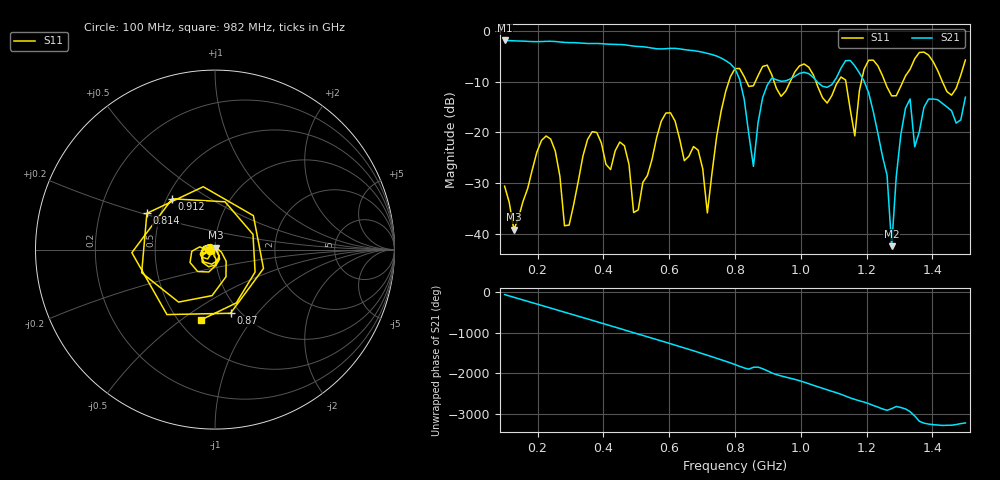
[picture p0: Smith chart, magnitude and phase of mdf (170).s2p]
! NanoVNA-App
! Date: 2025-09-26 09:41:03
! Start: 100MHz Stop: 1,5GHz Points: 101
! S-Parameter data: F S11 S21 S12 S22
# Hz S RI R 50
!  Frequency  S11_Real  S11_Imag  S21_Real  S21_Imag  S12_Real  S12_Imag  S22_Real  S22_Imag
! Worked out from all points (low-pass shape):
!   101 points, 100 MHz to 1.5 GHz, reference 50 ohm
!   highest |S21| = -1.79 dB at 100 MHz (marker M1); lowest = -42.5 dB at 1.276 GHz (marker M2)
!   |S21| within 3 dB of the highest: start of sweep to 740.3 MHz
!   lowest |S11| = -39.2 dB at 128 MHz (marker M3), VSWR 1.02, Z = 50.3 + j1.07 ohm
!   |S11| at or under -10 dB: start of sweep to 780.9 MHz; 1.046 GHz to 1.113 GHz (66.31 MHz wide, 6.14 % of centre); 1.256 GHz to 1.31 GHz (53.86 MHz wide, 4.2 % of centre)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
!   S12 and S22 are empty: the file has one direction only
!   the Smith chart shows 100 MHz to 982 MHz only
!   S11 on the Smith chart (normalised r, x): 100 MHz: 0.94, -0.01; 814 MHz: 0.42, +0.21; 870 MHz: 0.90, -0.74; 912 MHz: 0.53, +0.35; 982 MHz: 0.64, -0.60
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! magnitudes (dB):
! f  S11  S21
! 100 MHz  -30.6  -1.8
! 128 MHz  -39.2  -1.9
! 212 MHz  -21.6  -2.0
! 282 MHz  -38.5  -2.2
! 338 MHz  -24.7  -2.3
! 464 MHz  -22.6  -2.6
! 492 MHz  -35.8  -2.9
! 576 MHz  -17.8  -3.5
! 688 MHz  -23.5  -3.9
! 716 MHz  -35.9  -4.3
! 800 MHz  -7.4  -7.4
! 814 MHz  -7.3  -9.4
! 856 MHz  -10.8  -26.7
! 870 MHz  -8.8  -18.1
! 912 MHz  -8.6  -9.2
! 982 MHz  -8.0  -8.9
! 1.038 GHz  -8.6  -9.1
! 1.164 GHz  -20.7  -6.8
! 1.192 GHz  -7.5  -9.8
! 1.276 GHz  -12.7  -42.5
! 1.318 GHz  -8.8  -15.2
! 1.5 GHz  -5.7  -13.0
